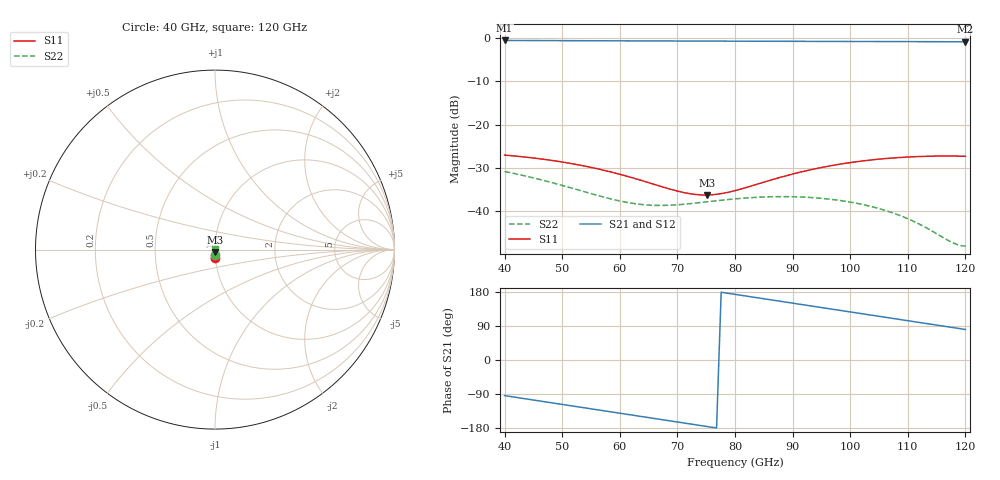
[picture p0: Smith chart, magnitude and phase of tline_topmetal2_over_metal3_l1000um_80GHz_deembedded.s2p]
! Created with skrf 2.0.1 (http://scikit-rf.org).
# GHz S DB R 50.0
!freq dBS11 angS11 dBS21 angS21 dBS12 angS12 dBS22 angS22
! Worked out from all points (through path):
!   101 points, 40 GHz to 120 GHz, reference 50 ohm
!   highest |S21| = -0.56 dB at 40 GHz (marker M1); lowest = -0.9 dB at 120 GHz (marker M2)
!   group delay of S21, straight-line fit = 6.44 ps
!   lowest |S11| = -36.2 dB at 75.2 GHz (marker M3), VSWR 1.03, Z = 49.9 - j1.54 ohm
!   |S11| at or under -10 dB: start of sweep to end of sweep
!   |S22| runs from -48.0 to -30.8 dB; largest |S21 - S12| = 1.1e-14
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40  -27.02 -88.2  -0.56 -94.0  -0.56 -94.0  -30.79 -86.5
46.4  -27.92 -101.0  -0.58 -108.9  -0.58 -108.9  -32.74 -97.7
49.6  -28.53 -106.6  -0.60 -116.3  -0.60 -116.3  -33.87 -101.8
53.6  -29.47 -112.6  -0.62 -125.6  -0.62 -125.6  -35.37 -104.8
57.6  -30.63 -117.1  -0.63 -134.9  -0.63 -134.9  -36.84 -104.7
61.6  -32.03 -119.4  -0.65 -144.1  -0.65 -144.1  -38.01 -101.4
64  -32.96 -119.2  -0.66 -149.7  -0.66 -149.7  -38.44 -98.3
67.2  -34.26 -116.4  -0.67 -157.1  -0.67 -157.1  -38.63 -94.2
72  -35.89 -105.0  -0.69 -168.2  -0.69 -168.2  -38.25 -90.8
75.2  -36.22 -93.6  -0.70 -175.7  -0.70 -175.7  -37.78 -91.1
77.6  -35.91 -85.1  -0.71 178.8  -0.71 178.8  -37.43 -92.8
80  -35.22 -78.0  -0.72 173.2  -0.72 173.2  -37.12 -95.4
86.4  -32.71 -69.1  -0.74 158.4  -0.74 158.4  -36.63 -106.1
89.6  -31.53 -68.7  -0.75 151.0  -0.75 151.0  -36.61 -113.0
93.6  -30.26 -70.4  -0.77 141.7  -0.77 141.7  -36.84 -122.8
100.8  -28.60 -76.7  -0.79 125.0  -0.79 125.0  -38.06 -143.4
107.2  -27.70 -83.9  -0.81 110.2  -0.81 110.2  -40.27 -166.1
110.4  -27.43 -87.6  -0.83 102.8  -0.83 102.8  -41.93 179.6
113.6  -27.28 -91.3  -0.84 95.4  -0.84 95.4  -44.08 161.1
117.6  -27.24 -95.7  -0.85 86.1  -0.85 86.1  -47.11 125.1
119.2  -27.27 -97.3  -0.85 82.4  -0.85 82.4  -47.90 104.6
120  -27.29 -98.1  -0.86 80.5  -0.86 80.5  -48.03 93.4
